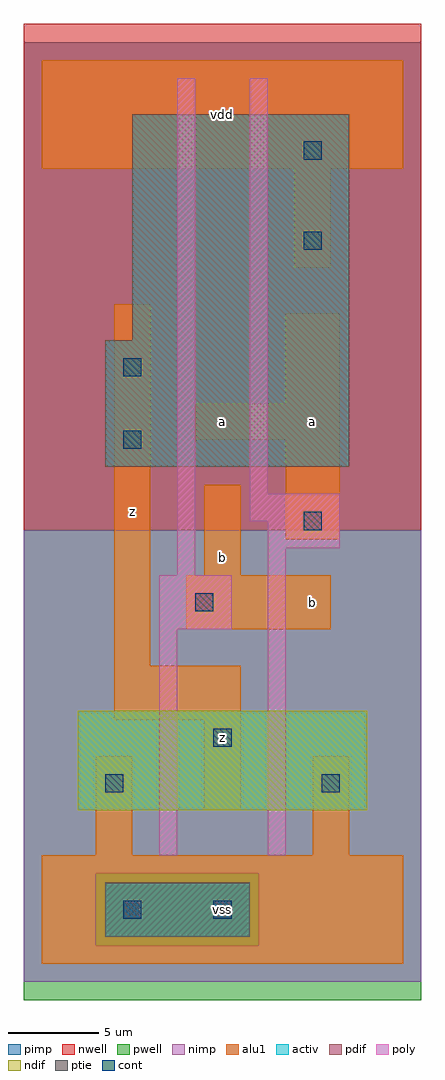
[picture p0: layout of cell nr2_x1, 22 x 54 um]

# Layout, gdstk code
import gdstk
lib = gdstk.Library(unit=1e-6, precision=1e-09)
def R(c, l, rs):  # rectangles x0, y0, x1, y1
    for r in rs: c.add(gdstk.rectangle(r[:2], r[2:], *l))
ndif = (3, 0)
pdif = (4, 0)
ptie = (6, 0)
cont = (25, 0)
pwell = (41, 0)
nwell = (42, 0)
activ = (43, 0)
pimp = (44, 0)
nimp = (45, 0)
poly = (46, 0)
alu1 = (49, 0)

nr2_x1 = lib.new_cell('nr2_x1')
R(nr2_x1, ndif, [(2,8.5,18,14)])
R(nr2_x1, pdif, [(3.5,27.5,17,34.5), (5,34.5,17,47)])
R(nr2_x1, ptie, [(3.5,1.5,11.5,4.5)])
R(nr2_x1, cont, [(4.5,2.5,5.5,3.5), (9.5,2.5,10.5,3.5), (3.5,9.5,4.5,10.5), (15.5,9.5,16.5,10.5), (9.5,12,10.5,13), (8.5,19.5,9.5,20.5), (14.5,24,15.5,25), (4.5,28.5,5.5,29.5), (4.5,32.5,5.5,33.5), (14.5,39.5,15.5,40.5), (14.5,44.5,15.5,45.5)])
R(nr2_x1, pwell, [(-1,-2,21,24)])
R(nr2_x1, nwell, [(-1,24,21,52)])
R(nr2_x1, activ, [(3.5,1.5,11.5,4.5), (2,8.5,18,14), (3.5,27.5,17,34.5), (5,34.5,17,47)])
R(nr2_x1, pimp, [(3,1,12,5), (-1,24,21,51)])
R(nr2_x1, nimp, [(-1,-1,21,1), (-1,1,3,5), (12,1,21,5), (-1,5,21,24)])
R(nr2_x1, poly, [(6.5,6,7.5,18.5), (12.5,6,13.5,23), (6.5,18.5,10.5,21.5), (7.5,21.5,8.5,49), (12.5,23,16.5,24.5), (11.5,24.5,16.5,26), (11.5,26,12.5,49)])
R(nr2_x1, alu1, [(0,0,20,6), (3,6,5,11.5), (15,6,17,11.5), (9,8.5,11,13.5), (4,13.5,11,16.5), (4,16.5,6,36.5), (8,18.5,16,21.5), (9,21.5,11,26.5), (13.5,23.5,16.5,29), (8.5,29,16.5,31), (13.5,31,16.5,36), (14,38.5,16,44), (0,44,20,50)])
nr2_x1.add(gdstk.Label('z', (5,25), layer=49, texttype=0))
nr2_x1.add(gdstk.Label('vss', (10,3), layer=49, texttype=0))
nr2_x1.add(gdstk.Label('z', (10,12.5), layer=49, texttype=0))
nr2_x1.add(gdstk.Label('b', (10,22.5), layer=49, texttype=0))
nr2_x1.add(gdstk.Label('a', (10,30), layer=49, texttype=0))
nr2_x1.add(gdstk.Label('vdd', (10,47), layer=49, texttype=0))
nr2_x1.add(gdstk.Label('b', (15,20), layer=49, texttype=0))
nr2_x1.add(gdstk.Label('a', (15,30), layer=49, texttype=0))

lib.write_gds('nr2_x1.gds')
